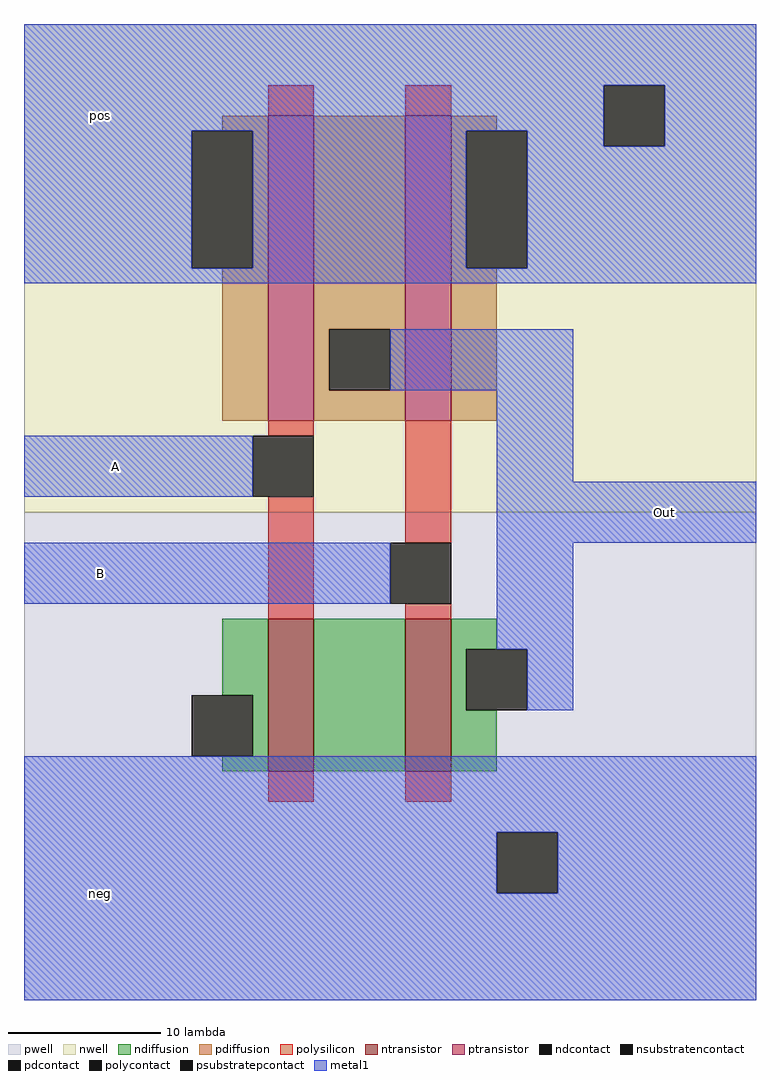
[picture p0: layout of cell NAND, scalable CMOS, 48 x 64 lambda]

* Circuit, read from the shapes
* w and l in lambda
.subckt NAND A B Out neg pos
M1 n1 A neg neg nfet w=10 l=3
M2 Out B n1 neg nfet w=10 l=3
M3 Out A pos pos pfet w=20 l=3
M4 pos B Out pos pfet w=20 l=3
.ends

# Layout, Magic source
magic
tech scmos
<< nwell >>
rect -16 30 32 62
<< pwell >>
rect -16 -2 32 30
<< ntransistor >>
rect 0 13 3 23
rect 9 13 12 23
<< ptransistor >>
rect 0 36 3 56
rect 9 36 12 56
<< ndiffusion >>
rect -3 18 0 23
rect -1 14 0 18
rect -3 13 0 14
rect 3 13 9 23
rect 12 21 15 23
rect 12 17 13 21
rect 12 13 15 17
<< pdiffusion >>
rect -3 55 0 56
rect -1 46 0 55
rect -3 36 0 46
rect 3 42 9 56
rect 3 38 4 42
rect 8 38 9 42
rect 3 36 9 38
rect 12 55 15 56
rect 12 46 13 55
rect 12 36 15 46
<< ndcontact >>
rect -5 14 -1 18
rect 13 17 17 21
<< pdcontact >>
rect -5 46 -1 55
rect 4 38 8 42
rect 13 46 17 55
<< psubstratepcontact >>
rect 15 5 19 9
<< nsubstratencontact >>
rect 22 54 26 58
<< polysilicon >>
rect 0 56 3 58
rect 9 56 12 58
rect 0 35 3 36
rect 0 23 3 31
rect 9 28 12 36
rect 9 23 12 24
rect 0 11 3 13
rect 9 11 12 13
<< polycontact >>
rect -1 31 3 35
rect 8 24 12 28
<< metal1 >>
rect -16 58 32 62
rect -16 55 22 58
rect -16 46 -5 55
rect -1 46 13 55
rect 17 54 22 55
rect 26 54 32 58
rect 17 46 32 54
rect -16 45 32 46
rect 8 38 20 42
rect -16 31 -1 35
rect 15 32 20 38
rect 15 28 32 32
rect -16 24 8 28
rect 15 21 20 28
rect 17 17 20 21
rect -16 9 32 14
rect -16 5 15 9
rect 19 5 32 9
rect -16 -2 32 5
<< labels >>
rlabel metal1 26 30 26 30 7 Out
rlabel metal1 -10 33 -10 33 3 A
rlabel metal1 -11 26 -11 26 3 B
rlabel metal1 -11 56 -11 56 3 pos
rlabel metal1 -11 5 -11 5 3 neg
<< end >>
